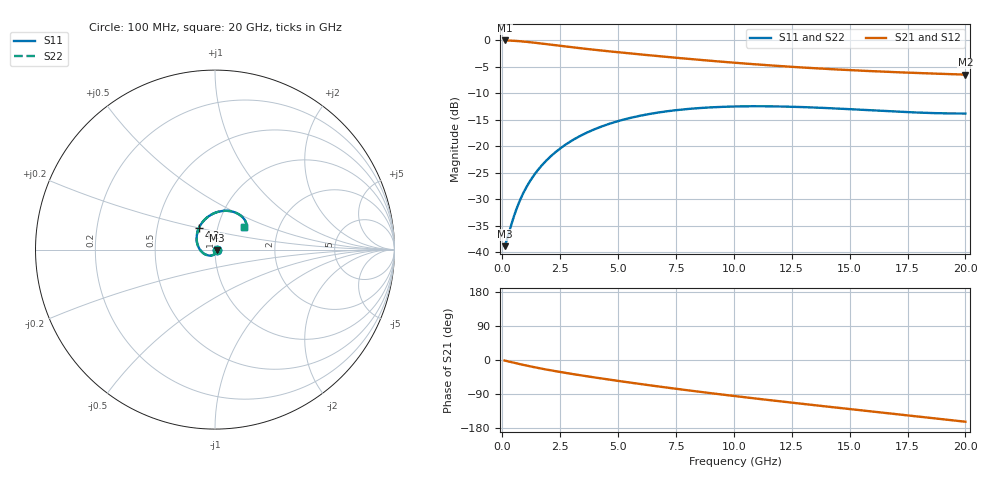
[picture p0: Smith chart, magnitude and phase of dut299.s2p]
! Created with skrf 1.9.0 (http://scikit-rf.org).
# GHz S RI R 50.0
!freq ReS11 ImS11 ReS21 ImS21 ReS12 ImS12 ReS22 ImS22
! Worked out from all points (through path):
!   200 points, 100 MHz to 20 GHz, reference 50 ohm
!   highest |S21| = -0.10 dB at 100 MHz (marker M1); lowest = -6.5 dB at 20 GHz (marker M2)
!   group delay of S21, straight-line fit = 21.4 ps
!   lowest |S11| = -38.8 dB at 100 MHz (marker M3), VSWR 1.02, Z = 51 - j0.487 ohm
!   |S11| at or under -10 dB: start of sweep to end of sweep
!   |S22| runs from -38.8 to -12.5 dB; largest |S21 - S12| = 1.6e-15
!   S11 on the Smith chart (normalised r, x): 100 MHz: 1.02, -0.01; 4.2 GHz: 0.81, +0.20; 20 GHz: 1.33, +0.34
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0.1  0.0104 -0.00477  0.9886 -0.0252  0.9886 -0.0252  0.0104 -0.00477
0.2  0.0093 -0.00934  0.9867 -0.0503  0.9867 -0.0503  0.0093 -0.00934
0.5  0.00171 -0.0217  0.9739 -0.1238  0.9739 -0.1238  0.00171 -0.0217
0.7  -0.00646 -0.0279  0.9601 -0.1701  0.9601 -0.1701  -0.00646 -0.0279
1  -0.022 -0.0329  0.9331 -0.2346  0.9331 -0.2346  -0.022 -0.0329
1.3  -0.0393 -0.0321  0.9006 -0.2924  0.9006 -0.2924  -0.0393 -0.0321
1.7  -0.0618 -0.0225  0.8521 -0.3588  0.8521 -0.3588  -0.0618 -0.0225
2.2  -0.0843 9.44e-05  0.7878 -0.427  0.7878 -0.427  -0.0843 9.44e-05
2.8  -0.0995 0.0359  0.7101 -0.4917  0.7101 -0.4917  -0.0995 0.0359
3.5  -0.1012 0.0805  0.621 -0.5497  0.621 -0.5497  -0.1012 0.0805
4.2  -0.0891 0.1215  0.5343 -0.5933  0.5343 -0.5933  -0.0891 0.1215
4.8  -0.0712 0.1512  0.4619 -0.6211  0.4619 -0.6211  -0.0712 0.1512
5.5  -0.0449 0.1783  0.3799 -0.6437  0.3799 -0.6437  -0.0449 0.1783
6.8  0.00956 0.2082  0.2367 -0.6611  0.2367 -0.6611  0.00956 0.2082
8.3  0.0685 0.2161  0.0893 -0.6498  0.0893 -0.6498  0.0685 0.2161
10.1  0.1226 0.2023  -0.0595 -0.6056  -0.0595 -0.6056  0.1226 0.2023
11.7  0.1533 0.1808  -0.1676 -0.5485  -0.1676 -0.5485  0.1533 0.1808
13.4  0.1701 0.157  -0.2606 -0.4765  -0.2606 -0.4765  0.1701 0.157
15  0.1749 0.1384  -0.3304 -0.4016  -0.3304 -0.4016  0.1749 0.1384
16.7  0.1723 0.1256  -0.3877 -0.3162  -0.3877 -0.3162  0.1723 0.1256
18.4  0.1662 0.1209  -0.4282 -0.2263  -0.4282 -0.2263  0.1662 0.1209
20  0.1608 0.1236  -0.4509 -0.1388  -0.4509 -0.1388  0.1608 0.1236
